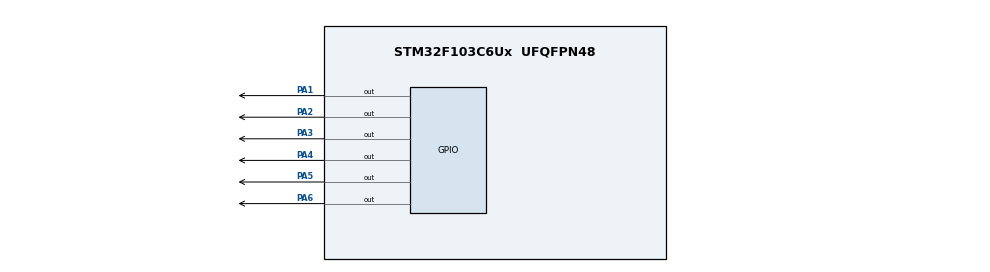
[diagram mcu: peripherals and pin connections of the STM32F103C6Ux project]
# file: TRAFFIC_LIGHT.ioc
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Mcu.Family=STM32F1
Mcu.Name=STM32F103C6Ux
Mcu.Package=UFQFPN48
NVIC.PriorityGroup=NVIC_PRIORITYGROUP_4
PA1.Signal=GPIO_Output
PA2.Signal=GPIO_Output
PA3.Signal=GPIO_Output
PA4.Signal=GPIO_Output
PA5.Signal=GPIO_Output
PA6.Signal=GPIO_Output
ProjectManager.HeapSize=0x200
ProjectManager.StackSize=0x400
ProjectManager.TargetToolchain=STM32CubeIDE
RCC.APB1Freq_Value=8000000
RCC.APB2Freq_Value=8000000
VP_SYS_VS_ND.Mode=No_Debug
board=custom

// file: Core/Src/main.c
/* USER CODE BEGIN Header */
/**
  ******************************************************************************
  * @file           : main.c
  * @brief          : Main program body
  ******************************************************************************
  * @attention
  *
  * <h2><center>&copy; Copyright (c) 2022 STMicroelectronics.
  * All rights reserved.</center></h2>
  *
  * This software component is licensed by ST under BSD 3-Clause license,
  * the "License"; You may not use this file except in compliance with the
  * License. You may obtain a copy of the License at:
  *                        opensource.org/licenses/BSD-3-Clause
  *
  ******************************************************************************
  */
/* USER CODE END Header */
#include "main.h"

void SystemClock_Config(void);
static void MX_GPIO_Init(void);

int main(void)
{

  /* MCU Configuration--------------------------------------------------------*/

  /* Reset of all peripherals, Initializes the Flash interface and the Systick. */
  HAL_Init();

  /* Configure the system clock */
  SystemClock_Config();

  /* Initialize all configured peripherals */
  MX_GPIO_Init();

  /* Infinite loop */
  /* USER CODE BEGIN WHILE */
  while (1)
  {
	  HAL_GPIO_WritePin(GPIOA, GPIO_PIN_3, SET); //RED
	  HAL_GPIO_WritePin(GPIOA, GPIO_PIN_4, SET); //GREEN
	  HAL_GPIO_WritePin(GPIOA, GPIO_PIN_1, RESET);
	  HAL_GPIO_WritePin(GPIOA, GPIO_PIN_2, RESET);
	  HAL_GPIO_WritePin(GPIOA, GPIO_PIN_5, RESET);
	  HAL_GPIO_WritePin(GPIOA, GPIO_PIN_6, RESET);
	  HAL_Delay(3000);

	  HAL_GPIO_WritePin(GPIOA, GPIO_PIN_3, SET); //RED
	  HAL_GPIO_WritePin(GPIOA, GPIO_PIN_5, SET); //YELLOW
	  HAL_GPIO_WritePin(GPIOA, GPIO_PIN_1, RESET);
	  HAL_GPIO_WritePin(GPIOA, GPIO_PIN_2, RESET);
	  HAL_GPIO_WritePin(GPIOA, GPIO_PIN_4, RESET);
	  HAL_GPIO_WritePin(GPIOA, GPIO_PIN_6, RESET);
	  HAL_Delay(2000);

	  HAL_GPIO_WritePin(GPIOA, GPIO_PIN_1, SET); //GREEN
	  HAL_GPIO_WritePin(GPIOA, GPIO_PIN_6, SET); //RED
	  HAL_GPIO_WritePin(GPIOA, GPIO_PIN_2, RESET);
	  HAL_GPIO_WritePin(GPIOA, GPIO_PIN_3, RESET);
	  HAL_GPIO_WritePin(GPIOA, GPIO_PIN_4, RESET);
	  HAL_GPIO_WritePin(GPIOA, GPIO_PIN_5, RESET);
	  HAL_Delay(3000);

	  HAL_GPIO_WritePin(GPIOA, GPIO_PIN_2, SET); //YELLOW
	  HAL_GPIO_WritePin(GPIOA, GPIO_PIN_6, SET); //RED
	  HAL_GPIO_WritePin(GPIOA, GPIO_PIN_1, RESET);
	  HAL_GPIO_WritePin(GPIOA, GPIO_PIN_3, RESET);
	  HAL_GPIO_WritePin(GPIOA, GPIO_PIN_4, RESET);
	  HAL_GPIO_WritePin(GPIOA, GPIO_PIN_5, RESET);
	  HAL_Delay(2000);
    /* USER CODE END WHILE */

  }
}

void SystemClock_Config(void)
{
  RCC_OscInitTypeDef RCC_OscInitStruct = {0};
  RCC_ClkInitTypeDef RCC_ClkInitStruct = {0};

  /** Initializes the RCC Oscillators according to the specified parameters
  * in the RCC_OscInitTypeDef structure.
  */
  RCC_OscInitStruct.OscillatorType = RCC_OSCILLATORTYPE_HSI;
  RCC_OscInitStruct.HSIState = RCC_HSI_ON;
  RCC_OscInitStruct.HSICalibrationValue = RCC_HSICALIBRATION_DEFAULT;
  RCC_OscInitStruct.PLL.PLLState = RCC_PLL_NONE;
  if (HAL_RCC_OscConfig(&RCC_OscInitStruct) != HAL_OK)
  {
    Error_Handler();
  }
  /** Initializes the CPU, AHB and APB buses clocks
  */
  RCC_ClkInitStruct.ClockType = RCC_CLOCKTYPE_HCLK|RCC_CLOCKTYPE_SYSCLK
                              |RCC_CLOCKTYPE_PCLK1|RCC_CLOCKTYPE_PCLK2;
  RCC_ClkInitStruct.SYSCLKSource = RCC_SYSCLKSOURCE_HSI;
  RCC_ClkInitStruct.AHBCLKDivider = RCC_SYSCLK_DIV1;
  RCC_ClkInitStruct.APB1CLKDivider = RCC_HCLK_DIV1;
  RCC_ClkInitStruct.APB2CLKDivider = RCC_HCLK_DIV1;

  if (HAL_RCC_ClockConfig(&RCC_ClkInitStruct, FLASH_LATENCY_0) != HAL_OK)
  {
    Error_Handler();
  }
}

static void MX_GPIO_Init(void)
{
  GPIO_InitTypeDef GPIO_InitStruct = {0};

  /* GPIO Ports Clock Enable */
  __HAL_RCC_GPIOA_CLK_ENABLE();

  /*Configure GPIO pin Output Level */
  HAL_GPIO_WritePin(GPIOA, GPIO_PIN_1|GPIO_PIN_2|GPIO_PIN_3|GPIO_PIN_4
                          |GPIO_PIN_5|GPIO_PIN_6, GPIO_PIN_RESET);

  /*Configure GPIO pins : PA1 PA2 PA3 PA4
                           PA5 PA6 */
  GPIO_InitStruct.Pin = GPIO_PIN_1|GPIO_PIN_2|GPIO_PIN_3|GPIO_PIN_4
                          |GPIO_PIN_5|GPIO_PIN_6;
  GPIO_InitStruct.Mode = GPIO_MODE_OUTPUT_PP;
  GPIO_InitStruct.Pull = GPIO_NOPULL;
  GPIO_InitStruct.Speed = GPIO_SPEED_FREQ_LOW;
  HAL_GPIO_Init(GPIOA, &GPIO_InitStruct);

}

void Error_Handler(void)
{
  __disable_irq();
  while (1)
  {
  }
}

/************************ (C) COPYRIGHT STMicroelectronics *****END OF FILE****/
